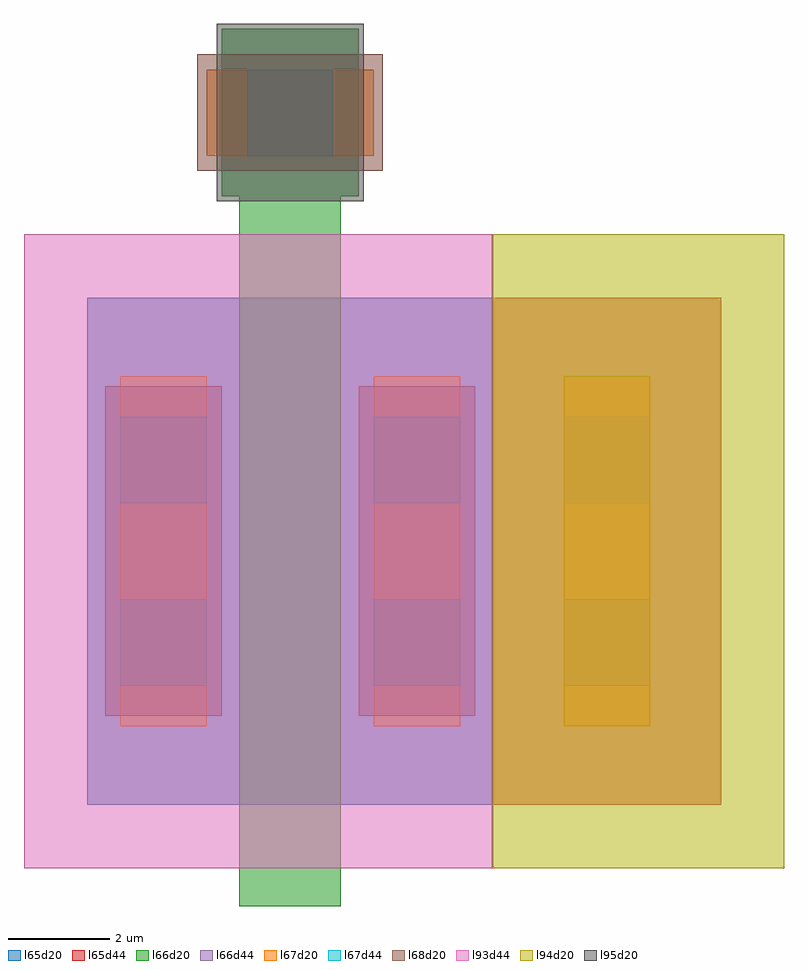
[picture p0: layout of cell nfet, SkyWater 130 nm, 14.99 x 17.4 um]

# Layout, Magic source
magic
tech sky130a
<< l66d20 >>
rect 300 -200 500 1200
rect 265 1200 535 1530
<< l94d20 >>
rect 800 -125 1374 1125
<< l66d44 >>
rect 65 235 235 405
rect 65 595 235 765
rect 565 235 735 405
rect 565 595 735 765
rect 315 1280 485 1450
rect 940 235 1110 405
rect 940 595 1110 765
<< l67d44 >>
rect 65 235 235 405
rect 65 595 235 765
rect 565 235 735 405
rect 565 595 735 765
rect 315 1280 485 1450
<< l95d20 >>
rect 255 1190 545 1540
<< l67d20 >>
rect 65 155 235 845
rect 565 155 735 845
rect 235 1280 565 1450
rect 940 155 1110 845
<< l68d20 >>
rect 35 175 265 825
rect 535 175 765 825
rect 217 1250 583 1480
<< l65d20 >>
rect 0 0 800 1000
<< l93d44 >>
rect -125 -125 799 1125
<< l65d44 >>
rect 800 0 1250 1000
<< end >>
